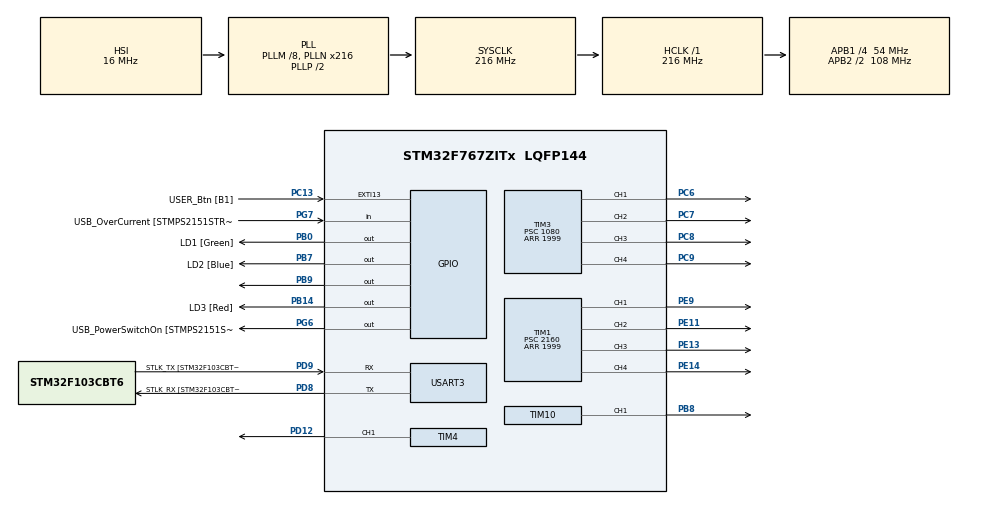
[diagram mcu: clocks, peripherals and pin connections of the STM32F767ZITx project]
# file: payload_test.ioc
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Mcu.Family=STM32F7
Mcu.Name=STM32F767ZITx
Mcu.Package=LQFP144
NVIC.PriorityGroup=NVIC_PRIORITYGROUP_4
PA1.GPIO_Label=RMII_REF_CLK [LAN8742A-CZ-TR_REFCLK0]
PA1.Signal=ETH_REF_CLK
PA10.GPIO_Label=USB_ID
PA10.Signal=USB_OTG_FS_ID
PA11.GPIO_Label=USB_DM
PA11.Signal=USB_OTG_FS_DM
PA12.GPIO_Label=USB_DP
PA12.Signal=USB_OTG_FS_DP
PA13.GPIO_Label=TMS
PA13.Signal=SYS_JTMS-SWDIO
PA14.GPIO_Label=TCK
PA14.Signal=SYS_JTCK-SWCLK
PA2.GPIO_Label=RMII_MDIO [LAN8742A-CZ-TR_MDIO]
PA2.Signal=ETH_MDIO
PA7.GPIO_Label=RMII_CRS_DV [LAN8742A-CZ-TR_CRS_DV]
PA7.Signal=ETH_CRS_DV
PA8.GPIO_Label=USB_SOF [TP1]
PA8.Signal=USB_OTG_FS_SOF
PA9.GPIO_Label=USB_VBUS
PA9.Signal=USB_OTG_FS_VBUS
PB0.GPIO_Label=LD1 [Green]
PB0.Signal=GPIO_Output
PB13.GPIO_Label=RMII_TXD1 [LAN8742A-CZ-TR_TXD1]
PB13.Signal=ETH_TXD1
PB14.GPIO_Label=LD3 [Red]
PB14.Signal=GPIO_Output
PB3.GPIO_Label=SW0
PB3.Signal=SYS_JTDO-SWO
PB7.GPIO_Label=LD2 [Blue]
PB7.Signal=GPIO_Output
PB8.Signal=S_TIM10_CH1
PB9.Signal=GPIO_Output
PC1.GPIO_Label=RMII_MDC [LAN8742A-CZ-TR_MDC]
PC1.Signal=ETH_MDC
PC13.GPIO_Label=USER_Btn [B1]
PC13.Signal=GPXTI13
PC14/OSC32_IN.Signal=RCC_OSC32_IN
PC15/OSC32_OUT.Signal=RCC_OSC32_OUT
PC4.GPIO_Label=RMII_RXD0 [LAN8742A-CZ-TR_RXD0]
PC4.Signal=ETH_RXD0
PC5.GPIO_Label=RMII_RXD1 [LAN8742A-CZ-TR_RXD1]
PC5.Signal=ETH_RXD1
PC6.Signal=S_TIM3_CH1
PC7.Signal=S_TIM3_CH2
PC8.Signal=S_TIM3_CH3
PC9.Signal=S_TIM3_CH4
PD12.Signal=S_TIM4_CH1
PD8.GPIO_Label=STLK_RX [STM32F103CBT6_PA3]
PD8.Mode=Asynchronous
PD8.Signal=USART3_TX
PD9.GPIO_Label=STLK_TX [STM32F103CBT6_PA2]
PD9.Mode=Asynchronous
PD9.Signal=USART3_RX
PE11.Signal=S_TIM1_CH2
PE13.Signal=S_TIM1_CH3
PE14.Signal=S_TIM1_CH4
PE9.Signal=S_TIM1_CH1
PG11.GPIO_Label=RMII_TX_EN [LAN8742A-CZ-TR_TXEN]
PG11.Signal=ETH_TX_EN
PG13.GPIO_Label=RMII_TXD0 [LAN8742A-CZ-TR_TXD0]
PG13.Signal=ETH_TXD0
PG6.GPIO_Label=USB_PowerSwitchOn [STMPS2151STR_EN]
PG6.Signal=GPIO_Output
PG7.GPIO_Label=USB_OverCurrent [STMPS2151STR_FAULT]
PG7.Signal=GPIO_Input
PH0/OSC_IN.GPIO_Label=MCO [STM32F103CBT6_PA8]
PH0/OSC_IN.Signal=RCC_OSC_IN
PH1/OSC_OUT.Signal=RCC_OSC_OUT
ProjectManager.HeapSize=0x200
ProjectManager.StackSize=0x400
ProjectManager.TargetToolchain=STM32CubeIDE
RCC.48MHZClocksFreq_Value=24000000
RCC.AHBFreq_Value=216000000
RCC.APB1CLKDivider=RCC_HCLK_DIV4
RCC.APB1Freq_Value=54000000
RCC.APB1TimFreq_Value=108000000
RCC.APB2CLKDivider=RCC_HCLK_DIV2
RCC.APB2Freq_Value=108000000
RCC.APB2TimFreq_Value=216000000
RCC.CortexFreq_Value=216000000
RCC.HCLKFreq_Value=216000000
RCC.HSE_VALUE=16000000
RCC.HSI_VALUE=16000000
RCC.LSE_VALUE=32768
RCC.PLLM=8
RCC.PLLMUL=RCC_PLL_MUL9
RCC.PLLN=216
RCC.PRESCALERUSB=RCC_USBCLKSOURCE_PLL_DIV1_5
RCC.SYSCLKFreq_VALUE=216000000
RCC.SYSCLKSource=RCC_SYSCLKSOURCE_PLLCLK
RCC.SYSCLKSourceVirtual=RCC_SYSCLKSOURCE_PLLCLK
RCC.USBFreq_Value=216000000
RCC.VCOOutputFreq_Value=432000000
SH.S_TIM10_CH1.0=TIM10_CH1,PWM Generation1 CH1
SH.S_TIM1_CH1.0=TIM1_CH1,PWM Generation1 CH1
SH.S_TIM1_CH2.0=TIM1_CH2,PWM Generation2 CH2
SH.S_TIM1_CH3.0=TIM1_CH3,PWM Generation3 CH3
SH.S_TIM1_CH4.0=TIM1_CH4,PWM Generation4 CH4
SH.S_TIM3_CH1.0=TIM3_CH1,PWM Generation1 CH1
SH.S_TIM3_CH2.0=TIM3_CH2,PWM Generation2 CH2
SH.S_TIM3_CH3.0=TIM3_CH3,PWM Generation3 CH3
SH.S_TIM3_CH4.0=TIM3_CH4,PWM Generation4 CH4
SH.S_TIM4_CH1.0=TIM4_CH1,PWM Generation1 CH1
TIM1.Channel-PWM\ Generation1\ CH1=TIM_CHANNEL_1
TIM1.Channel-PWM\ Generation2\ CH2=TIM_CHANNEL_2
TIM1.Channel-PWM\ Generation3\ CH3=TIM_CHANNEL_3
TIM1.Channel-PWM\ Generation4\ CH4=TIM_CHANNEL_4
TIM1.Period=1999
TIM1.Prescaler=2160
TIM10.AutoReloadPreload=TIM_AUTORELOAD_PRELOAD_ENABLE
TIM10.Channel=TIM_CHANNEL_1
TIM10.Period=59999
TIM10.Prescaler=71
TIM3.Channel-PWM\ Generation1\ CH1=TIM_CHANNEL_1
TIM3.Channel-PWM\ Generation2\ CH2=TIM_CHANNEL_2
TIM3.Channel-PWM\ Generation3\ CH3=TIM_CHANNEL_3
TIM3.Channel-PWM\ Generation4\ CH4=TIM_CHANNEL_4
TIM3.Period=1999
TIM3.Prescaler=1080
TIM4.Channel-PWM\ Generation1\ CH1=TIM_CHANNEL_1
TIM4.Period=1999
TIM4.Prescaler=1080
USART3.VirtualMode-Asynchronous=VM_ASYNC
VP_TIM10_VS_ClockSourceINT.Mode=Enable_Timer
board=NUCLEO-F767ZI

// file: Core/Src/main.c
/* USER CODE BEGIN Header */
/**
  ******************************************************************************
  * @file           : main.c
  * @brief          : Main program body
  ******************************************************************************
  * @attention
  *
  * Copyright (c) 2024 STMicroelectronics.
  * All rights reserved.
  *
  * This software is licensed under terms that can be found in the LICENSE file
  * in the root directory of this software component.
  * If no LICENSE file comes with this software, it is provided AS-IS.
  *
  ******************************************************************************
  */
/* USER CODE END Header */
#include "main.h"

/* USER CODE BEGIN Includes */

#include "ugv_servo.h"

/* USER CODE END Includes */

TIM_HandleTypeDef htim1;
TIM_HandleTypeDef htim3;
TIM_HandleTypeDef htim4;
TIM_HandleTypeDef htim10;

UART_HandleTypeDef huart3;

/* USER CODE BEGIN PV */
ugvServo_t elbow_servo;
ugvServo_t forarm_servo;
ugvServo_t servo3;
ugvServo_t servo4;
ugvServo_t servo5;

float elbow_serv = 0;
float forarm_serv = 0;
float servo3_duty = 0;
float servo4_duty = 0;
float servo5_duty = 0;

/* USER CODE END PV */

void SystemClock_Config(void);
static void MX_GPIO_Init(void);
static void MX_TIM10_Init(void);
static void MX_USART3_UART_Init(void);
static void MX_TIM1_Init(void);
static void MX_TIM3_Init(void);
static void MX_TIM4_Init(void);

int main(void)
{

  /* MCU Configuration--------------------------------------------------------*/

  /* Reset of all peripherals, Initializes the Flash interface and the Systick. */
  HAL_Init();

  /* Configure the system clock */
  SystemClock_Config();

  /* Initialize all configured peripherals */
  MX_GPIO_Init();
  MX_TIM10_Init();
  MX_USART3_UART_Init();
  MX_TIM1_Init();
  MX_TIM3_Init();
  MX_TIM4_Init();
  /* USER CODE BEGIN 2 */

  // 2022 Servo Driver
    elbow_servo.timerInstance = &htim3;
    elbow_servo.timerCCRX = &TIM3->CCR1;
    elbow_servo.timerCh = TIM_CHANNEL_1;
    elbow_servo.timerARR = htim3.Init.Period;
    elbow_servo.minPulse = 500;
    elbow_servo.maxPulse = 2700;
    elbow_servo.timerPeriod = 20000;
    elbow_servo.travelAngle = 360.0;
//	elbow_servo.minLimit = 1;
//	elbow_servo.maxLimit = 270.0;

//	elbow_servo.minLimit = 0;
//	elbow_servo.maxLimit = 360.0;
//	elbow_servo.travelOffset = 50;

	elbow_servo.minLimit = 0;
	elbow_servo.maxLimit = 270;
	elbow_servo.travelOffset = 270;

    forarm_servo.timerInstance = &htim3;
    forarm_servo.timerCCRX = &TIM3->CCR2;
    forarm_servo.timerCh = TIM_CHANNEL_2;
    forarm_servo.timerARR = htim3.Init.Period;
    forarm_servo.minPulse = 500;
    forarm_servo.maxPulse = 2700;
    forarm_servo.timerPeriod = 20000;
    forarm_servo.travelAngle = 360.0;
    forarm_servo.minLimit = 0;
    forarm_servo.maxLimit = 270;
    forarm_servo.travelOffset = 0;

    //Wrist Servo
    servo3.timerInstance = &htim3;
    servo3.timerCCRX = &TIM3->CCR3;
    servo3.timerCh = TIM_CHANNEL_3;
    servo3.timerARR = htim3.Init.Period;
    servo3.minPulse = 500;
    servo3.maxPulse = 2700;
    servo3.timerPeriod = 20000;
    servo3.travelAngle = 360.0;
    servo3.minLimit = 0;
    servo3.maxLimit = 270;
    servo3.travelOffset = 170;

    //Base Servo
    servo4.timerInstance = &htim3;
    servo4.timerCCRX = &TIM3->CCR4;
    servo4.timerCh = TIM_CHANNEL_4;
    servo4.timerARR = htim3.Init.Period;
    servo4.minPulse = 500;
    servo4.maxPulse = 2700;
    servo4.timerPeriod = 20000;
    servo4.travelAngle = 360.0;
    servo4.minLimit = 0;
    servo4.maxLimit = 270;
    servo4.travelOffset = 55;

    //Claw Servo
    servo5.timerInstance = &htim4;
    servo5.timerCCRX = &TIM4->CCR1;
    servo5.timerCh = TIM_CHANNEL_1;
    servo5.timerARR = htim4.Init.Period;
    servo5.minPulse = 500;
    servo5.maxPulse = 2700;
    servo5.timerPeriod = 20000;
    servo5.travelAngle = 360.0;
    servo5.minLimit = 0;
    servo5.maxLimit = 270;
    servo5.travelOffset = 0;

	ugv_servoInitServo(&elbow_servo);
	ugv_servoInitServo(&forarm_servo);
	ugv_servoInitServo(&servo3);
	ugv_servoInitServo(&servo4);
	ugv_servoInitServo(&servo5);

	//steer_val = 100;
  /* USER CODE END 2 */

  /* Infinite loop */
  /* USER CODE BEGIN WHILE */
  while (1)
  {
	  ugv_servoSetAngle(&elbow_servo, elbow_serv);
	  ugv_servoSetAngle(&forarm_servo, forarm_serv);
	  ugv_servoSetAngle(&servo3, servo3_duty);
	  ugv_servoSetAngle(&servo4, servo4_duty);
	  ugv_servoSetAngle(&servo5, servo5_duty);

    /* USER CODE END WHILE */

  }
}

void SystemClock_Config(void)
{
  RCC_OscInitTypeDef RCC_OscInitStruct = {0};
  RCC_ClkInitTypeDef RCC_ClkInitStruct = {0};

  /** Configure the main internal regulator output voltage
  */
  __HAL_RCC_PWR_CLK_ENABLE();
  __HAL_PWR_VOLTAGESCALING_CONFIG(PWR_REGULATOR_VOLTAGE_SCALE1);

  /** Initializes the RCC Oscillators according to the specified parameters
  * in the RCC_OscInitTypeDef structure.
  */
  RCC_OscInitStruct.OscillatorType = RCC_OSCILLATORTYPE_HSI;
  RCC_OscInitStruct.HSIState = RCC_HSI_ON;
  RCC_OscInitStruct.HSICalibrationValue = RCC_HSICALIBRATION_DEFAULT;
  RCC_OscInitStruct.PLL.PLLState = RCC_PLL_ON;
  RCC_OscInitStruct.PLL.PLLSource = RCC_PLLSOURCE_HSI;
  RCC_OscInitStruct.PLL.PLLM = 8;
  RCC_OscInitStruct.PLL.PLLN = 216;
  RCC_OscInitStruct.PLL.PLLP = RCC_PLLP_DIV2;
  RCC_OscInitStruct.PLL.PLLQ = 2;
  RCC_OscInitStruct.PLL.PLLR = 2;
  if (HAL_RCC_OscConfig(&RCC_OscInitStruct) != HAL_OK)
  {
    Error_Handler();
  }

  /** Activate the Over-Drive mode
  */
  if (HAL_PWREx_EnableOverDrive() != HAL_OK)
  {
    Error_Handler();
  }

  /** Initializes the CPU, AHB and APB buses clocks
  */
  RCC_ClkInitStruct.ClockType = RCC_CLOCKTYPE_HCLK|RCC_CLOCKTYPE_SYSCLK
                              |RCC_CLOCKTYPE_PCLK1|RCC_CLOCKTYPE_PCLK2;
  RCC_ClkInitStruct.SYSCLKSource = RCC_SYSCLKSOURCE_PLLCLK;
  RCC_ClkInitStruct.AHBCLKDivider = RCC_SYSCLK_DIV1;
  RCC_ClkInitStruct.APB1CLKDivider = RCC_HCLK_DIV4;
  RCC_ClkInitStruct.APB2CLKDivider = RCC_HCLK_DIV2;

  if (HAL_RCC_ClockConfig(&RCC_ClkInitStruct, FLASH_LATENCY_7) != HAL_OK)
  {
    Error_Handler();
  }
}

static void MX_TIM1_Init(void)
{

  TIM_MasterConfigTypeDef sMasterConfig = {0};
  TIM_OC_InitTypeDef sConfigOC = {0};
  TIM_BreakDeadTimeConfigTypeDef sBreakDeadTimeConfig = {0};

  htim1.Instance = TIM1;
  htim1.Init.Prescaler = 2160;
  htim1.Init.CounterMode = TIM_COUNTERMODE_UP;
  htim1.Init.Period = 1999;
  htim1.Init.ClockDivision = TIM_CLOCKDIVISION_DIV1;
  htim1.Init.RepetitionCounter = 0;
  htim1.Init.AutoReloadPreload = TIM_AUTORELOAD_PRELOAD_DISABLE;
  if (HAL_TIM_PWM_Init(&htim1) != HAL_OK)
  {
    Error_Handler();
  }
  sMasterConfig.MasterOutputTrigger = TIM_TRGO_RESET;
  sMasterConfig.MasterOutputTrigger2 = TIM_TRGO2_RESET;
  sMasterConfig.MasterSlaveMode = TIM_MASTERSLAVEMODE_DISABLE;
  if (HAL_TIMEx_MasterConfigSynchronization(&htim1, &sMasterConfig) != HAL_OK)
  {
    Error_Handler();
  }
  sConfigOC.OCMode = TIM_OCMODE_PWM1;
  sConfigOC.Pulse = 0;
  sConfigOC.OCPolarity = TIM_OCPOLARITY_HIGH;
  sConfigOC.OCNPolarity = TIM_OCNPOLARITY_HIGH;
  sConfigOC.OCFastMode = TIM_OCFAST_DISABLE;
  sConfigOC.OCIdleState = TIM_OCIDLESTATE_RESET;
  sConfigOC.OCNIdleState = TIM_OCNIDLESTATE_RESET;
  if (HAL_TIM_PWM_ConfigChannel(&htim1, &sConfigOC, TIM_CHANNEL_1) != HAL_OK)
  {
    Error_Handler();
  }
  if (HAL_TIM_PWM_ConfigChannel(&htim1, &sConfigOC, TIM_CHANNEL_2) != HAL_OK)
  {
    Error_Handler();
  }
  if (HAL_TIM_PWM_ConfigChannel(&htim1, &sConfigOC, TIM_CHANNEL_3) != HAL_OK)
  {
    Error_Handler();
  }
  if (HAL_TIM_PWM_ConfigChannel(&htim1, &sConfigOC, TIM_CHANNEL_4) != HAL_OK)
  {
    Error_Handler();
  }
  sBreakDeadTimeConfig.OffStateRunMode = TIM_OSSR_DISABLE;
  sBreakDeadTimeConfig.OffStateIDLEMode = TIM_OSSI_DISABLE;
  sBreakDeadTimeConfig.LockLevel = TIM_LOCKLEVEL_OFF;
  sBreakDeadTimeConfig.DeadTime = 0;
  sBreakDeadTimeConfig.BreakState = TIM_BREAK_DISABLE;
  sBreakDeadTimeConfig.BreakPolarity = TIM_BREAKPOLARITY_HIGH;
  sBreakDeadTimeConfig.BreakFilter = 0;
  sBreakDeadTimeConfig.Break2State = TIM_BREAK2_DISABLE;
  sBreakDeadTimeConfig.Break2Polarity = TIM_BREAK2POLARITY_HIGH;
  sBreakDeadTimeConfig.Break2Filter = 0;
  sBreakDeadTimeConfig.AutomaticOutput = TIM_AUTOMATICOUTPUT_DISABLE;
  if (HAL_TIMEx_ConfigBreakDeadTime(&htim1, &sBreakDeadTimeConfig) != HAL_OK)
  {
    Error_Handler();
  }
  HAL_TIM_MspPostInit(&htim1);

}

static void MX_TIM3_Init(void)
{

  TIM_MasterConfigTypeDef sMasterConfig = {0};
  TIM_OC_InitTypeDef sConfigOC = {0};

  htim3.Instance = TIM3;
  htim3.Init.Prescaler = 1080;
  htim3.Init.CounterMode = TIM_COUNTERMODE_UP;
  htim3.Init.Period = 1999;
  htim3.Init.ClockDivision = TIM_CLOCKDIVISION_DIV1;
  htim3.Init.AutoReloadPreload = TIM_AUTORELOAD_PRELOAD_DISABLE;
  if (HAL_TIM_PWM_Init(&htim3) != HAL_OK)
  {
    Error_Handler();
  }
  sMasterConfig.MasterOutputTrigger = TIM_TRGO_RESET;
  sMasterConfig.MasterSlaveMode = TIM_MASTERSLAVEMODE_DISABLE;
  if (HAL_TIMEx_MasterConfigSynchronization(&htim3, &sMasterConfig) != HAL_OK)
  {
    Error_Handler();
  }
  sConfigOC.OCMode = TIM_OCMODE_PWM1;
  sConfigOC.Pulse = 0;
  sConfigOC.OCPolarity = TIM_OCPOLARITY_HIGH;
  sConfigOC.OCFastMode = TIM_OCFAST_DISABLE;
  if (HAL_TIM_PWM_ConfigChannel(&htim3, &sConfigOC, TIM_CHANNEL_1) != HAL_OK)
  {
    Error_Handler();
  }
  if (HAL_TIM_PWM_ConfigChannel(&htim3, &sConfigOC, TIM_CHANNEL_2) != HAL_OK)
  {
    Error_Handler();
  }
  if (HAL_TIM_PWM_ConfigChannel(&htim3, &sConfigOC, TIM_CHANNEL_3) != HAL_OK)
  {
    Error_Handler();
  }
  if (HAL_TIM_PWM_ConfigChannel(&htim3, &sConfigOC, TIM_CHANNEL_4) != HAL_OK)
  {
    Error_Handler();
  }
  HAL_TIM_MspPostInit(&htim3);

}

static void MX_TIM4_Init(void)
{

  TIM_MasterConfigTypeDef sMasterConfig = {0};
  TIM_OC_InitTypeDef sConfigOC = {0};

  htim4.Instance = TIM4;
  htim4.Init.Prescaler = 1080;
  htim4.Init.CounterMode = TIM_COUNTERMODE_UP;
  htim4.Init.Period = 1999;
  htim4.Init.ClockDivision = TIM_CLOCKDIVISION_DIV1;
  htim4.Init.AutoReloadPreload = TIM_AUTORELOAD_PRELOAD_DISABLE;
  if (HAL_TIM_PWM_Init(&htim4) != HAL_OK)
  {
    Error_Handler();
  }
  sMasterConfig.MasterOutputTrigger = TIM_TRGO_RESET;
  sMasterConfig.MasterSlaveMode = TIM_MASTERSLAVEMODE_DISABLE;
  if (HAL_TIMEx_MasterConfigSynchronization(&htim4, &sMasterConfig) != HAL_OK)
  {
    Error_Handler();
  }
  sConfigOC.OCMode = TIM_OCMODE_PWM1;
  sConfigOC.Pulse = 0;
  sConfigOC.OCPolarity = TIM_OCPOLARITY_HIGH;
  sConfigOC.OCFastMode = TIM_OCFAST_DISABLE;
  if (HAL_TIM_PWM_ConfigChannel(&htim4, &sConfigOC, TIM_CHANNEL_1) != HAL_OK)
  {
    Error_Handler();
  }
  HAL_TIM_MspPostInit(&htim4);

}

static void MX_TIM10_Init(void)
{

  TIM_OC_InitTypeDef sConfigOC = {0};

  htim10.Instance = TIM10;
  htim10.Init.Prescaler = 71;
  htim10.Init.CounterMode = TIM_COUNTERMODE_UP;
  htim10.Init.Period = 59999;
  htim10.Init.ClockDivision = TIM_CLOCKDIVISION_DIV1;
  htim10.Init.AutoReloadPreload = TIM_AUTORELOAD_PRELOAD_ENABLE;
  if (HAL_TIM_Base_Init(&htim10) != HAL_OK)
  {
    Error_Handler();
  }
  if (HAL_TIM_PWM_Init(&htim10) != HAL_OK)
  {
    Error_Handler();
  }
  sConfigOC.OCMode = TIM_OCMODE_PWM1;
  sConfigOC.Pulse = 0;
  sConfigOC.OCPolarity = TIM_OCPOLARITY_HIGH;
  sConfigOC.OCFastMode = TIM_OCFAST_DISABLE;
  if (HAL_TIM_PWM_ConfigChannel(&htim10, &sConfigOC, TIM_CHANNEL_1) != HAL_OK)
  {
    Error_Handler();
  }
  HAL_TIM_MspPostInit(&htim10);

}

static void MX_USART3_UART_Init(void)
{

  huart3.Instance = USART3;
  huart3.Init.BaudRate = 115200;
  huart3.Init.WordLength = UART_WORDLENGTH_8B;
  huart3.Init.StopBits = UART_STOPBITS_1;
  huart3.Init.Parity = UART_PARITY_NONE;
  huart3.Init.Mode = UART_MODE_TX_RX;
  huart3.Init.HwFlowCtl = UART_HWCONTROL_NONE;
  huart3.Init.OverSampling = UART_OVERSAMPLING_16;
  huart3.Init.OneBitSampling = UART_ONE_BIT_SAMPLE_DISABLE;
  huart3.AdvancedInit.AdvFeatureInit = UART_ADVFEATURE_NO_INIT;
  if (HAL_UART_Init(&huart3) != HAL_OK)
  {
    Error_Handler();
  }

}

static void MX_GPIO_Init(void)
{
  GPIO_InitTypeDef GPIO_InitStruct = {0};

  /* GPIO Ports Clock Enable */
  __HAL_RCC_GPIOC_CLK_ENABLE();
  __HAL_RCC_GPIOH_CLK_ENABLE();
  __HAL_RCC_GPIOA_CLK_ENABLE();
  __HAL_RCC_GPIOB_CLK_ENABLE();
  __HAL_RCC_GPIOE_CLK_ENABLE();
  __HAL_RCC_GPIOD_CLK_ENABLE();
  __HAL_RCC_GPIOG_CLK_ENABLE();

  /*Configure GPIO pin Output Level */
  HAL_GPIO_WritePin(GPIOB, LD1_Pin|LD3_Pin|LD2_Pin|GPIO_PIN_9, GPIO_PIN_RESET);

  /*Configure GPIO pin Output Level */
  HAL_GPIO_WritePin(USB_PowerSwitchOn_GPIO_Port, USB_PowerSwitchOn_Pin, GPIO_PIN_RESET);

  /*Configure GPIO pin : USER_Btn_Pin */
  GPIO_InitStruct.Pin = USER_Btn_Pin;
  GPIO_InitStruct.Mode = GPIO_MODE_IT_RISING;
  GPIO_InitStruct.Pull = GPIO_NOPULL;
  HAL_GPIO_Init(USER_Btn_GPIO_Port, &GPIO_InitStruct);

  /*Configure GPIO pins : RMII_MDC_Pin RMII_RXD0_Pin RMII_RXD1_Pin */
  GPIO_InitStruct.Pin = RMII_MDC_Pin|RMII_RXD0_Pin|RMII_RXD1_Pin;
  GPIO_InitStruct.Mode = GPIO_MODE_AF_PP;
  GPIO_InitStruct.Pull = GPIO_NOPULL;
  GPIO_InitStruct.Speed = GPIO_SPEED_FREQ_VERY_HIGH;
  GPIO_InitStruct.Alternate = GPIO_AF11_ETH;
  HAL_GPIO_Init(GPIOC, &GPIO_InitStruct);

  /*Configure GPIO pins : RMII_REF_CLK_Pin RMII_MDIO_Pin RMII_CRS_DV_Pin */
  GPIO_InitStruct.Pin = RMII_REF_CLK_Pin|RMII_MDIO_Pin|RMII_CRS_DV_Pin;
  GPIO_InitStruct.Mode = GPIO_MODE_AF_PP;
  GPIO_InitStruct.Pull = GPIO_NOPULL;
  GPIO_InitStruct.Speed = GPIO_SPEED_FREQ_VERY_HIGH;
  GPIO_InitStruct.Alternate = GPIO_AF11_ETH;
  HAL_GPIO_Init(GPIOA, &GPIO_InitStruct);

  /*Configure GPIO pins : LD1_Pin LD3_Pin LD2_Pin PB9 */
  GPIO_InitStruct.Pin = LD1_Pin|LD3_Pin|LD2_Pin|GPIO_PIN_9;
  GPIO_InitStruct.Mode = GPIO_MODE_OUTPUT_PP;
  GPIO_InitStruct.Pull = GPIO_NOPULL;
  GPIO_InitStruct.Speed = GPIO_SPEED_FREQ_LOW;
  HAL_GPIO_Init(GPIOB, &GPIO_InitStruct);

  /*Configure GPIO pin : RMII_TXD1_Pin */
  GPIO_InitStruct.Pin = RMII_TXD1_Pin;
  GPIO_InitStruct.Mode = GPIO_MODE_AF_PP;
  GPIO_InitStruct.Pull = GPIO_NOPULL;
  GPIO_InitStruct.Speed = GPIO_SPEED_FREQ_VERY_HIGH;
  GPIO_InitStruct.Alternate = GPIO_AF11_ETH;
  HAL_GPIO_Init(RMII_TXD1_GPIO_Port, &GPIO_InitStruct);

  /*Configure GPIO pin : USB_PowerSwitchOn_Pin */
  GPIO_InitStruct.Pin = USB_PowerSwitchOn_Pin;
  GPIO_InitStruct.Mode = GPIO_MODE_OUTPUT_PP;
  GPIO_InitStruct.Pull = GPIO_NOPULL;
  GPIO_InitStruct.Speed = GPIO_SPEED_FREQ_LOW;
  HAL_GPIO_Init(USB_PowerSwitchOn_GPIO_Port, &GPIO_InitStruct);

  /*Configure GPIO pin : USB_OverCurrent_Pin */
  GPIO_InitStruct.Pin = USB_OverCurrent_Pin;
  GPIO_InitStruct.Mode = GPIO_MODE_INPUT;
  GPIO_InitStruct.Pull = GPIO_NOPULL;
  HAL_GPIO_Init(USB_OverCurrent_GPIO_Port, &GPIO_InitStruct);

  /*Configure GPIO pins : USB_SOF_Pin USB_ID_Pin USB_DM_Pin USB_DP_Pin */
  GPIO_InitStruct.Pin = USB_SOF_Pin|USB_ID_Pin|USB_DM_Pin|USB_DP_Pin;
  GPIO_InitStruct.Mode = GPIO_MODE_AF_PP;
  GPIO_InitStruct.Pull = GPIO_NOPULL;
  GPIO_InitStruct.Speed = GPIO_SPEED_FREQ_VERY_HIGH;
  GPIO_InitStruct.Alternate = GPIO_AF10_OTG_FS;
  HAL_GPIO_Init(GPIOA, &GPIO_InitStruct);

  /*Configure GPIO pin : USB_VBUS_Pin */
  GPIO_InitStruct.Pin = USB_VBUS_Pin;
  GPIO_InitStruct.Mode = GPIO_MODE_INPUT;
  GPIO_InitStruct.Pull = GPIO_NOPULL;
  HAL_GPIO_Init(USB_VBUS_GPIO_Port, &GPIO_InitStruct);

  /*Configure GPIO pins : RMII_TX_EN_Pin RMII_TXD0_Pin */
  GPIO_InitStruct.Pin = RMII_TX_EN_Pin|RMII_TXD0_Pin;
  GPIO_InitStruct.Mode = GPIO_MODE_AF_PP;
  GPIO_InitStruct.Pull = GPIO_NOPULL;
  GPIO_InitStruct.Speed = GPIO_SPEED_FREQ_VERY_HIGH;
  GPIO_InitStruct.Alternate = GPIO_AF11_ETH;
  HAL_GPIO_Init(GPIOG, &GPIO_InitStruct);

}

void Error_Handler(void)
{
  __disable_irq();
  while (1)
  {
  }
}
